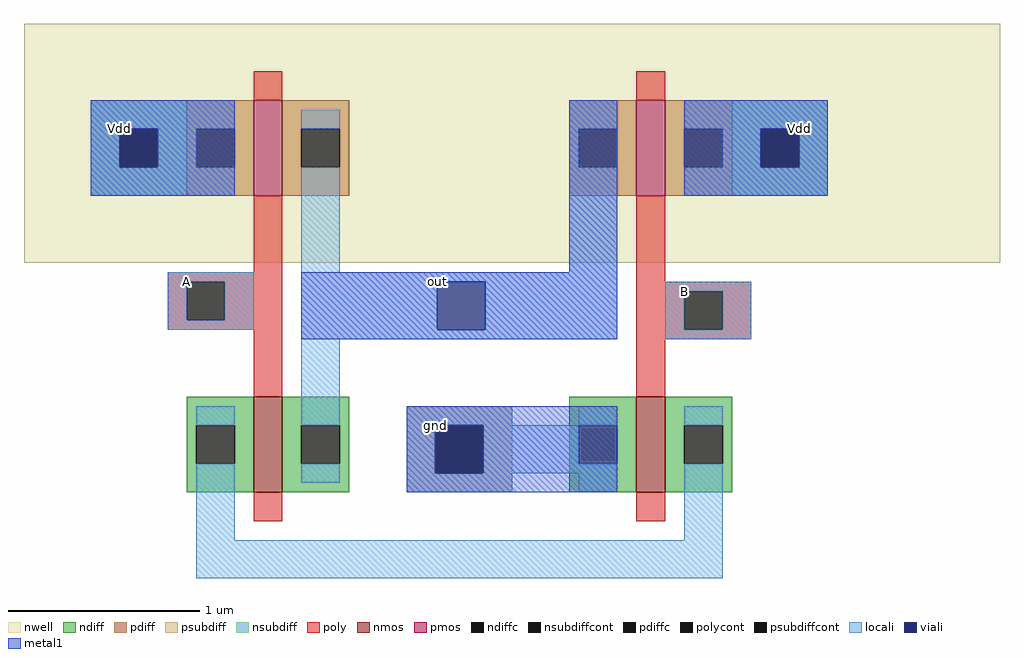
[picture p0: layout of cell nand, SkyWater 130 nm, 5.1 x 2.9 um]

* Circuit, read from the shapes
.subckt nand A B out Vdd gnd
XM1 out A n1 gnd sky130_fd_pr__nfet_01v8 w=0.5 l=0.15
XM2 n1 B gnd gnd sky130_fd_pr__nfet_01v8 w=0.5 l=0.15
XM3 out A Vdd Vdd sky130_fd_pr__pfet_01v8 w=0.5 l=0.15
XM4 Vdd B out Vdd sky130_fd_pr__pfet_01v8 w=0.5 l=0.15
.ends

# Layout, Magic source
magic
tech sky130A
<< nwell >>
rect -65 -20 445 105
<< nmos >>
rect 55 -140 70 -90
rect 255 -140 270 -90
<< pmos >>
rect 55 15 70 65
rect 255 15 270 65
<< ndiff >>
rect 20 -105 55 -90
rect 20 -125 25 -105
rect 45 -125 55 -105
rect 20 -140 55 -125
rect 70 -105 105 -90
rect 70 -125 80 -105
rect 100 -125 105 -105
rect 70 -140 105 -125
rect 220 -105 255 -90
rect 220 -125 225 -105
rect 245 -125 255 -105
rect 220 -140 255 -125
rect 270 -105 305 -90
rect 270 -125 280 -105
rect 300 -125 305 -105
rect 270 -140 305 -125
<< pdiff >>
rect 20 50 55 65
rect 20 30 25 50
rect 45 30 55 50
rect 20 15 55 30
rect 70 50 105 65
rect 70 30 80 50
rect 100 30 105 50
rect 70 15 105 30
rect 220 50 255 65
rect 220 30 225 50
rect 245 30 255 50
rect 220 15 255 30
rect 270 50 305 65
rect 270 30 280 50
rect 300 30 305 50
rect 270 15 305 30
<< ndiffc >>
rect 25 -125 45 -105
rect 80 -125 100 -105
rect 225 -125 245 -105
rect 280 -125 300 -105
<< pdiffc >>
rect 25 30 45 50
rect 80 30 100 50
rect 225 30 245 50
rect 280 30 300 50
<< psubdiff >>
rect 135 -105 190 -95
rect 135 -130 150 -105
rect 175 -130 190 -105
rect 135 -140 190 -130
<< nsubdiff >>
rect -30 50 20 65
rect -30 30 -15 50
rect 5 30 20 50
rect -30 15 20 30
rect 305 50 355 65
rect 305 30 320 50
rect 340 30 355 50
rect 305 15 355 30
<< psubdiffcont >>
rect 150 -130 175 -105
<< nsubdiffcont >>
rect -15 30 5 50
rect 320 30 340 50
<< poly >>
rect 55 65 70 80
rect 255 65 270 80
rect 55 -25 70 15
rect 10 -30 70 -25
rect 10 -50 20 -30
rect 40 -50 70 -30
rect 10 -55 70 -50
rect 55 -90 70 -55
rect 255 -30 270 15
rect 255 -35 315 -30
rect 255 -55 280 -35
rect 300 -55 315 -35
rect 255 -60 315 -55
rect 255 -90 270 -60
rect 55 -155 70 -140
rect 255 -155 270 -140
<< polycont >>
rect 20 -50 40 -30
rect 280 -55 300 -35
<< locali >>
rect -30 50 45 65
rect -30 30 -15 50
rect 5 30 25 50
rect -30 15 45 30
rect 80 50 100 60
rect 80 -25 100 30
rect 220 50 245 65
rect 220 30 225 50
rect 220 -25 245 30
rect 280 50 355 65
rect 300 30 320 50
rect 340 30 355 50
rect 280 15 355 30
rect 10 -30 55 -25
rect 10 -50 20 -30
rect 40 -50 55 -30
rect 10 -55 55 -50
rect 80 -30 245 -25
rect 80 -55 151 -30
rect 176 -55 245 -30
rect 80 -60 245 -55
rect 270 -35 315 -30
rect 270 -55 280 -35
rect 300 -55 315 -35
rect 270 -60 315 -55
rect 25 -105 45 -95
rect 25 -165 45 -125
rect 80 -105 100 -60
rect 80 -135 100 -125
rect 135 -105 190 -95
rect 225 -105 245 -95
rect 135 -130 150 -105
rect 175 -125 225 -105
rect 175 -130 245 -125
rect 135 -140 190 -130
rect 225 -140 245 -130
rect 280 -105 300 -95
rect 280 -165 300 -125
rect 25 -185 300 -165
<< viali >>
rect -15 30 5 50
rect 320 30 340 50
rect 151 -55 176 -30
rect 150 -130 175 -105
<< metal1 >>
rect -30 50 45 65
rect -30 30 -15 50
rect 5 30 45 50
rect -30 15 45 30
rect 220 -25 245 65
rect 280 50 355 65
rect 280 30 320 50
rect 340 30 355 50
rect 280 15 355 30
rect 80 -30 245 -25
rect 80 -55 151 -30
rect 176 -55 245 -30
rect 80 -60 245 -55
rect 135 -105 245 -95
rect 135 -130 150 -105
rect 175 -130 245 -105
rect 135 -140 245 -130
<< labels >>
rlabel locali 20 -30 20 -30 7 A
port 1 w
rlabel locali 280 -35 280 -35 7 B
port 2 w
rlabel metal1 151 -30 151 -30 7 out
port 3 w
rlabel metal1 -15 50 -15 50 7 Vdd
port 4 w
rlabel metal1 340 50 340 50 3 Vdd
port 5 e
rlabel metal1 150 -105 150 -105 7 gnd
port 6 w
<< end >>
